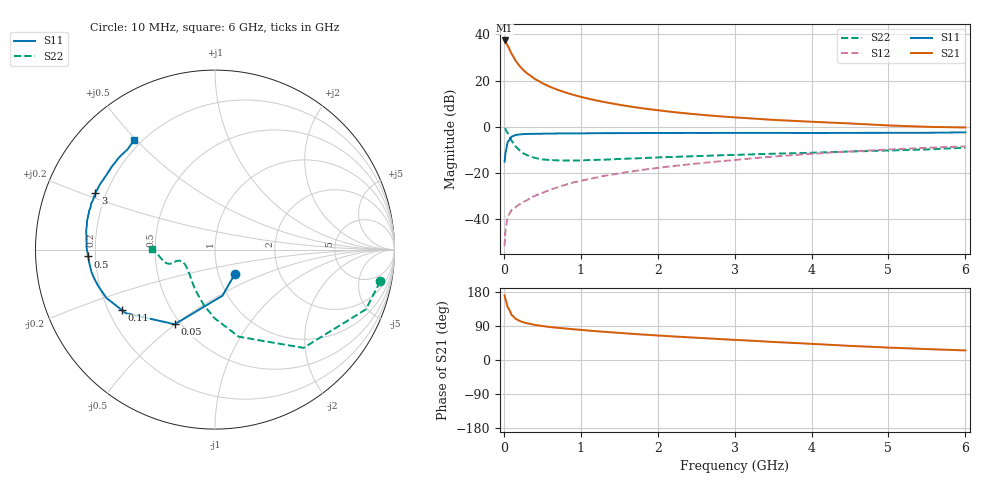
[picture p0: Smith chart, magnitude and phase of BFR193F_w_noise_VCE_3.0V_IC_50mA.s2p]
! Infineon Technologies  Discrete & RF Semiconductors
! BFR193F
! VCE =  3.0 V,  IC =  50 mA
! Common Emitter S-Parameters:  Jan 2017
# GHz  S  MA  R  50
!  f  S11  S21  S12  S22
! GHz  MAG  ANG  MAG  ANG  MAG  ANG  MAG  ANG
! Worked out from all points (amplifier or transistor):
!   77 points, 10 MHz to 6 GHz, reference 50 ohm
!   highest |S21| = 37.4 dB at 10 MHz (marker M1)
!   |S21| within 3 dB of that: start of sweep to 61.48 MHz
!   unconditionally stable (mu >= 1): 786.1 MHz to 2.614 GHz
!   at 130 MHz: K = 0.52, MSG = 32.7 dB, |S12| = -35.4 dB
!   at 2.2 GHz: K = 1.02, MAG = 10.9 dB, |S12| = -17.0 dB
!   at 6 GHz: K = 0.88, MSG = 4.1 dB, |S12| = -8.5 dB
!   lowest NFmin = 1.48 dB at 450 MHz
!   S11 on the Smith chart (normalised r, x): 10 MHz: 1.19, -0.34; 50 MHz: 0.46, -0.50; 110 MHz: 0.26, -0.28; 500 MHz: 0.17, -0.03; 3 GHz: 0.16, +0.22; 6 GHz: 0.17, +0.49
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0.01  0.1758 -51.5  73.94 170.5  0.0026 81.4  0.9374 -10.9
0.02  0.2599 -80.7  71.09 160.8  0.0052 76.9  0.9039 -21.6
0.05  0.473 -118.4  57.2 139.0  0.011 61.3  0.7369 -48.0
0.1  0.6101 -144.5  38.06 118.9  0.0156 51.6  0.5027 -74.8
0.11  0.6184 -146.9  35.86 117.4  0.0161 51.8  0.4758 -77.3
0.15  0.6621 -155.9  27.38 109.3  0.018 52.3  0.3805 -90.7
0.2  0.6809 -162.4  21.15 103.5  0.0208 54.9  0.3136 -101.6
0.25  0.6931 -167.0  17.14 99.7  0.0233 57.8  0.2689 -110.7
0.3  0.6995 -169.8  14.43 96.9  0.0257 60.3  0.2441 -117.6
0.4  0.7047 -174.0  10.91 92.6  0.0318 63.8  0.2125 -128.5
0.5  0.7077 -176.9  8.78 89.7  0.0371 66.1  0.1974 -136.1
0.6  0.7123 -179.3  7.351 87.1  0.0431 69.1  0.1901 -142.2
0.7  0.7162 178.6  6.316 84.9  0.0491 70.2  0.1874 -146.3
0.9  0.7192 175.3  4.933 81.2  0.0621 72.0  0.1858 -153.0
1.1  0.7235 172.7  4.054 77.7  0.0736 73.0  0.1899 -156.6
1.5  0.7291 168.1  3.002 71.6  0.098 73.5  0.201 -161.3
2.1  0.7331 162.2  2.183 63.5  0.1348 72.9  0.2198 -163.4
3  0.7367 154.7  1.598 53.1  0.1909 71.0  0.246 -162.3
3.1  0.7364 153.8  1.56 52.1  0.1979 70.6  0.249 -162.3
4.1  0.7342 145.0  1.263 41.6  0.2663 66.0  0.2773 -164.0
5.1  0.7409 135.1  1.054 32.0  0.3277 60.0  0.3095 -172.3
6  0.7584 126.5  0.966 25.3  0.3766 54.5  0.3526 179.2
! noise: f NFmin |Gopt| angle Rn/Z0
0.45  1.48  0.47  -179  0.07
0.9  1.56  0.48  -178  0.08
1.9  2.14  0.6  -163  0.09
2.4  2.45  0.62  -155  0.15
